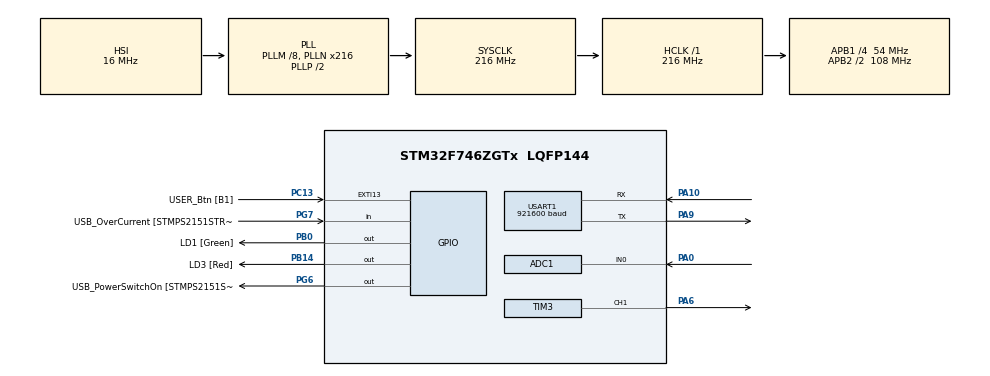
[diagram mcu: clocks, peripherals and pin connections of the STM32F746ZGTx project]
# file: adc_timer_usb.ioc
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ADC1.Channel-0\#ChannelRegularConversion=ADC_CHANNEL_0
ADC1.ContinuousConvMode=ENABLE
ADC1.DMAContinuousRequests=ENABLE
ADC1.NbrOfConversionFlag=1
ADC1.Rank-0\#ChannelRegularConversion=1
ADC1.Resolution=ADC_RESOLUTION_8B
ADC1.SamplingTime-0\#ChannelRegularConversion=ADC_SAMPLETIME_3CYCLES
ADC1.master=1
Dma.ADC1.0.Direction=DMA_PERIPH_TO_MEMORY
Dma.ADC1.0.FIFOMode=DMA_FIFOMODE_DISABLE
Dma.ADC1.0.Instance=DMA2_Stream0
Dma.ADC1.0.MemDataAlignment=DMA_MDATAALIGN_BYTE
Dma.ADC1.0.MemInc=DMA_MINC_ENABLE
Dma.ADC1.0.Mode=DMA_NORMAL
Dma.ADC1.0.PeriphDataAlignment=DMA_PDATAALIGN_BYTE
Dma.ADC1.0.PeriphInc=DMA_PINC_DISABLE
Dma.ADC1.0.Priority=DMA_PRIORITY_VERY_HIGH
Dma.Request0=ADC1
Mcu.Family=STM32F7
Mcu.Name=STM32F746ZGTx
Mcu.Package=LQFP144
NVIC.ADC_IRQn=true\:0\:0\:false\:false\:true\:true\:true
NVIC.DMA2_Stream0_IRQn=true\:0\:0\:false\:false\:true\:false\:true
NVIC.PriorityGroup=NVIC_PRIORITYGROUP_4
NVIC.TIM3_IRQn=true\:0\:0\:false\:false\:true\:true\:true
PA0/WKUP.Signal=ADCx_IN0
PA1.GPIO_Label=RMII_REF_CLK [LAN8742A-CZ-TR_REFCLK0]
PA1.Signal=ETH_REF_CLK
PA10.Mode=Asynchronous
PA10.Signal=USART1_RX
PA11.GPIO_Label=USB_DM
PA11.Signal=USB_OTG_FS_DM
PA12.GPIO_Label=USB_DP
PA12.Signal=USB_OTG_FS_DP
PA13.GPIO_Label=TMS
PA13.Signal=SYS_JTMS-SWDIO
PA14.GPIO_Label=TCK
PA14.Signal=SYS_JTCK-SWCLK
PA2.GPIO_Label=RMII_MDIO [LAN8742A-CZ-TR_MDIO]
PA2.Signal=ETH_MDIO
PA6.Signal=S_TIM3_CH1
PA7.GPIO_Label=RMII_CRS_DV [LAN8742A-CZ-TR_CRS_DV]
PA7.Signal=ETH_CRS_DV
PA8.GPIO_Label=USB_SOF [TP1]
PA8.Signal=USB_OTG_FS_SOF
PA9.Mode=Asynchronous
PA9.Signal=USART1_TX
PB0.GPIO_Label=LD1 [Green]
PB0.Signal=GPIO_Output
PB13.GPIO_Label=RMII_TXD1 [LAN8742A-CZ-TR_TXD1]
PB13.Signal=ETH_TXD1
PB14.GPIO_Label=LD3 [Red]
PB14.Signal=GPIO_Output
PB3.GPIO_Label=SW0
PB3.Signal=SYS_JTDO-SWO
PC1.GPIO_Label=RMII_MDC [LAN8742A-CZ-TR_MDC]
PC1.Signal=ETH_MDC
PC13.GPIO_Label=USER_Btn [B1]
PC13.Signal=GPXTI13
PC14/OSC32_IN.Signal=RCC_OSC32_IN
PC15/OSC32_OUT.Signal=RCC_OSC32_OUT
PC4.GPIO_Label=RMII_RXD0 [LAN8742A-CZ-TR_RXD0]
PC4.Signal=ETH_RXD0
PC5.GPIO_Label=RMII_RXD1 [LAN8742A-CZ-TR_RXD1]
PC5.Signal=ETH_RXD1
PD8.GPIO_Label=STLK_RX [STM32F103CBT6_PA3]
PD8.Signal=USART3_TX
PD9.GPIO_Label=STLK_TX [STM32F103CBT6_PA2]
PD9.Signal=USART3_RX
PG11.GPIO_Label=RMII_TX_EN [LAN8742A-CZ-TR_TXEN]
PG11.Signal=ETH_TX_EN
PG13.GPIO_Label=RMII_TXD0 [LAN8742A-CZ-TR_TXD0]
PG13.Signal=ETH_TXD0
PG6.GPIO_Label=USB_PowerSwitchOn [STMPS2151STR_EN]
PG6.Signal=GPIO_Output
PG7.GPIO_Label=USB_OverCurrent [STMPS2151STR_FAULT]
PG7.Signal=GPIO_Input
PH0/OSC_IN.GPIO_Label=MCO [STM32F103CBT6_PA8]
PH0/OSC_IN.Mode=HSE-External-Oscillator
PH0/OSC_IN.Signal=RCC_OSC_IN
PH1/OSC_OUT.Mode=HSE-External-Oscillator
PH1/OSC_OUT.Signal=RCC_OSC_OUT
ProjectManager.HeapSize=0x200
ProjectManager.StackSize=0x400
ProjectManager.TargetToolchain=MDK-ARM V5
RCC.48MHZClocksFreq_Value=24000000
RCC.AHBFreq_Value=216000000
RCC.APB1CLKDivider=RCC_HCLK_DIV4
RCC.APB1Freq_Value=54000000
RCC.APB1TimFreq_Value=108000000
RCC.APB2CLKDivider=RCC_HCLK_DIV2
RCC.APB2Freq_Value=108000000
RCC.APB2TimFreq_Value=216000000
RCC.CortexFreq_Value=216000000
RCC.HCLKFreq_Value=216000000
RCC.HSE_VALUE=8000000
RCC.HSI_VALUE=16000000
RCC.LSE_VALUE=32768
RCC.PLLM=8
RCC.PLLMUL=RCC_PLL_MUL9
RCC.PLLN=216
RCC.PRESCALERUSB=RCC_USBCLKSOURCE_PLL_DIV1_5
RCC.SYSCLKFreq_VALUE=216000000
RCC.SYSCLKSource=RCC_SYSCLKSOURCE_PLLCLK
RCC.SYSCLKSourceVirtual=RCC_SYSCLKSOURCE_PLLCLK
RCC.USBFreq_Value=216000000
RCC.VCOOutputFreq_Value=432000000
SH.ADCx_IN0.0=ADC1_IN0,IN0
SH.S_TIM3_CH1.0=TIM3_CH1,PWM Generation1 CH1
TIM3.AutoReloadPreload=TIM_AUTORELOAD_PRELOAD_ENABLE
TIM3.Channel-PWM\ Generation1\ CH1=TIM_CHANNEL_1
TIM3.OCFastMode_PWM-PWM\ Generation1\ CH1=TIM_OCFAST_ENABLE
TIM3.Period=21599
TIM3.Pulse-PWM\ Generation1\ CH1=5
USART1.BaudRate=921600
USART1.DMADisableonRxErrorParam=ADVFEATURE_DMA_DISABLEONRXERROR
USART1.OverSampling=UART_OVERSAMPLING_8
USART1.OverrunDisableParam=ADVFEATURE_OVERRUN_DISABLE
USART1.VirtualMode-Asynchronous=VM_ASYNC
VP_TIM3_VS_ClockSourceINT.Mode=Internal
board=NUCLEO-F746ZG

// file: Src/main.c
/* USER CODE BEGIN Header */
/**
  ******************************************************************************
  * @file           : main.c
  * @brief          : Main program body
  ******************************************************************************
  * @attention
  *
  * <h2><center>&copy; Copyright (c) 2019 STMicroelectronics.
  * All rights reserved.</center></h2>
  *
  * This software component is licensed by ST under BSD 3-Clause license,
  * the "License"; You may not use this file except in compliance with the
  * License. You may obtain a copy of the License at:
  *                        opensource.org/licenses/BSD-3-Clause
  *
  ******************************************************************************
  */
/* USER CODE END Header */

#include "main.h"

/* USER CODE BEGIN Includes */

//includes needed for printing
#include <stdio.h>
#include <stdarg.h>
#include <string.h>

/* USER CODE END Includes */

ADC_HandleTypeDef hadc1;
DMA_HandleTypeDef hdma_adc1;

TIM_HandleTypeDef htim3;

UART_HandleTypeDef huart1;

/* USER CODE BEGIN PV */

//memory buffer for DMA transfer
const int numVals = 500;
uint8_t vals[numVals];

//small buffer for marking the start of transfer
//will hold the encoder value and a bunch of 255
const int numStartBytes = 10;
uint8_t markStart[numStartBytes];

/* USER CODE END PV */

void SystemClock_Config(void);
static void MX_GPIO_Init(void);
static void MX_DMA_Init(void);
static void MX_ADC1_Init(void);
static void MX_USART1_UART_Init(void);
static void MX_TIM3_Init(void);
/* USER CODE BEGIN PFP */

//print functions definitions
void vprint(const char *fmt, va_list argp);
void my_printf(const char *fmt, ...);

/* USER CODE END PFP */

/* USER CODE BEGIN 0 */

//print functions
void vprint(const char *fmt, va_list argp)
{
    char string[200];
    if(0 < vsprintf(string,fmt,argp)) // build string
    {
        HAL_UART_Transmit(&huart1, (uint8_t*)string, strlen(string), 0xffffff); // send message via UART
    }
}

void my_printf(const char *fmt, ...) // custom printf() function
{
    va_list argp;
    va_start(argp, fmt);
    vprint(fmt, argp);
    va_end(argp);
}

/* USER CODE END 0 */

int main(void)
{
  /* USER CODE BEGIN 1 */

	//set the starting char array to all 255
	for (int i = 0; i < numStartBytes; i++) {
		markStart[i] = 255;
	}

  /* USER CODE END 1 */

  /* MCU Configuration--------------------------------------------------------*/

  /* Reset of all peripherals, Initializes the Flash interface and the Systick. */
  HAL_Init();

  /* Configure the system clock */
  SystemClock_Config();

  /* Initialize all configured peripherals */
  MX_GPIO_Init();
  MX_DMA_Init();
  MX_ADC1_Init();
  MX_USART1_UART_Init();
  MX_TIM3_Init();
  /* USER CODE BEGIN 2 */

	//delay: debugging
	HAL_Delay(1000);
	my_printf("starting DMA \r\n");

//start the timer: DMA started in timer callback
	HAL_TIM_PWM_Start_IT(&htim3, TIM_CHANNEL_1);

  /* USER CODE END 2 */

  /* Infinite loop */
  while (1)
  {

    /* USER CODE BEGIN 3 */
		//my_printf("in while \r\n");
		//HAL_Delay(1000);

  }
  /* USER CODE END 3 */
}

void SystemClock_Config(void)
{
  RCC_OscInitTypeDef RCC_OscInitStruct = {0};
  RCC_ClkInitTypeDef RCC_ClkInitStruct = {0};
  RCC_PeriphCLKInitTypeDef PeriphClkInitStruct = {0};

  /** Configure the main internal regulator output voltage
  */
  __HAL_RCC_PWR_CLK_ENABLE();
  __HAL_PWR_VOLTAGESCALING_CONFIG(PWR_REGULATOR_VOLTAGE_SCALE1);
  /** Initializes the CPU, AHB and APB busses clocks
  */
  RCC_OscInitStruct.OscillatorType = RCC_OSCILLATORTYPE_HSI;
  RCC_OscInitStruct.HSIState = RCC_HSI_ON;
  RCC_OscInitStruct.HSICalibrationValue = RCC_HSICALIBRATION_DEFAULT;
  RCC_OscInitStruct.PLL.PLLState = RCC_PLL_ON;
  RCC_OscInitStruct.PLL.PLLSource = RCC_PLLSOURCE_HSI;
  RCC_OscInitStruct.PLL.PLLM = 8;
  RCC_OscInitStruct.PLL.PLLN = 216;
  RCC_OscInitStruct.PLL.PLLP = RCC_PLLP_DIV2;
  RCC_OscInitStruct.PLL.PLLQ = 2;
  if (HAL_RCC_OscConfig(&RCC_OscInitStruct) != HAL_OK)
  {
    Error_Handler();
  }
  /** Activate the Over-Drive mode
  */
  if (HAL_PWREx_EnableOverDrive() != HAL_OK)
  {
    Error_Handler();
  }
  /** Initializes the CPU, AHB and APB busses clocks
  */
  RCC_ClkInitStruct.ClockType = RCC_CLOCKTYPE_HCLK|RCC_CLOCKTYPE_SYSCLK
                              |RCC_CLOCKTYPE_PCLK1|RCC_CLOCKTYPE_PCLK2;
  RCC_ClkInitStruct.SYSCLKSource = RCC_SYSCLKSOURCE_PLLCLK;
  RCC_ClkInitStruct.AHBCLKDivider = RCC_SYSCLK_DIV1;
  RCC_ClkInitStruct.APB1CLKDivider = RCC_HCLK_DIV4;
  RCC_ClkInitStruct.APB2CLKDivider = RCC_HCLK_DIV2;

  if (HAL_RCC_ClockConfig(&RCC_ClkInitStruct, FLASH_LATENCY_7) != HAL_OK)
  {
    Error_Handler();
  }
  PeriphClkInitStruct.PeriphClockSelection = RCC_PERIPHCLK_USART1;
  PeriphClkInitStruct.Usart1ClockSelection = RCC_USART1CLKSOURCE_PCLK2;
  if (HAL_RCCEx_PeriphCLKConfig(&PeriphClkInitStruct) != HAL_OK)
  {
    Error_Handler();
  }
}

static void MX_ADC1_Init(void)
{

  ADC_ChannelConfTypeDef sConfig = {0};

  /** Configure the global features of the ADC (Clock, Resolution, Data Alignment and number of conversion)
  */
  hadc1.Instance = ADC1;
  hadc1.Init.ClockPrescaler = ADC_CLOCK_SYNC_PCLK_DIV4;
  hadc1.Init.Resolution = ADC_RESOLUTION_8B;
  hadc1.Init.ScanConvMode = DISABLE;
  hadc1.Init.ContinuousConvMode = ENABLE;
  hadc1.Init.DiscontinuousConvMode = DISABLE;
  hadc1.Init.ExternalTrigConvEdge = ADC_EXTERNALTRIGCONVEDGE_NONE;
  hadc1.Init.ExternalTrigConv = ADC_SOFTWARE_START;
  hadc1.Init.DataAlign = ADC_DATAALIGN_RIGHT;
  hadc1.Init.NbrOfConversion = 1;
  hadc1.Init.DMAContinuousRequests = ENABLE;
  hadc1.Init.EOCSelection = ADC_EOC_SINGLE_CONV;
  if (HAL_ADC_Init(&hadc1) != HAL_OK)
  {
    Error_Handler();
  }
  /** Configure for the selected ADC regular channel its corresponding rank in the sequencer and its sample time.
  */
  sConfig.Channel = ADC_CHANNEL_0;
  sConfig.Rank = ADC_REGULAR_RANK_1;
  sConfig.SamplingTime = ADC_SAMPLETIME_3CYCLES;
  if (HAL_ADC_ConfigChannel(&hadc1, &sConfig) != HAL_OK)
  {
    Error_Handler();
  }

}

static void MX_TIM3_Init(void)
{

  TIM_ClockConfigTypeDef sClockSourceConfig = {0};
  TIM_MasterConfigTypeDef sMasterConfig = {0};
  TIM_OC_InitTypeDef sConfigOC = {0};

  htim3.Instance = TIM3;
  htim3.Init.Prescaler = 0;
  htim3.Init.CounterMode = TIM_COUNTERMODE_UP;
  htim3.Init.Period = 21599;
  htim3.Init.ClockDivision = TIM_CLOCKDIVISION_DIV1;
  htim3.Init.AutoReloadPreload = TIM_AUTORELOAD_PRELOAD_ENABLE;
  if (HAL_TIM_Base_Init(&htim3) != HAL_OK)
  {
    Error_Handler();
  }
  sClockSourceConfig.ClockSource = TIM_CLOCKSOURCE_INTERNAL;
  if (HAL_TIM_ConfigClockSource(&htim3, &sClockSourceConfig) != HAL_OK)
  {
    Error_Handler();
  }
  if (HAL_TIM_PWM_Init(&htim3) != HAL_OK)
  {
    Error_Handler();
  }
  sMasterConfig.MasterOutputTrigger = TIM_TRGO_RESET;
  sMasterConfig.MasterSlaveMode = TIM_MASTERSLAVEMODE_DISABLE;
  if (HAL_TIMEx_MasterConfigSynchronization(&htim3, &sMasterConfig) != HAL_OK)
  {
    Error_Handler();
  }
  sConfigOC.OCMode = TIM_OCMODE_PWM1;
  sConfigOC.Pulse = 5;
  sConfigOC.OCPolarity = TIM_OCPOLARITY_HIGH;
  sConfigOC.OCFastMode = TIM_OCFAST_ENABLE;
  if (HAL_TIM_PWM_ConfigChannel(&htim3, &sConfigOC, TIM_CHANNEL_1) != HAL_OK)
  {
    Error_Handler();
  }
  HAL_TIM_MspPostInit(&htim3);

}

static void MX_USART1_UART_Init(void)
{

  huart1.Instance = USART1;
  huart1.Init.BaudRate = 921600;
  huart1.Init.WordLength = UART_WORDLENGTH_8B;
  huart1.Init.StopBits = UART_STOPBITS_1;
  huart1.Init.Parity = UART_PARITY_NONE;
  huart1.Init.Mode = UART_MODE_TX_RX;
  huart1.Init.HwFlowCtl = UART_HWCONTROL_NONE;
  huart1.Init.OverSampling = UART_OVERSAMPLING_8;
  huart1.Init.OneBitSampling = UART_ONE_BIT_SAMPLE_DISABLE;
  huart1.AdvancedInit.AdvFeatureInit = UART_ADVFEATURE_RXOVERRUNDISABLE_INIT|UART_ADVFEATURE_DMADISABLEONERROR_INIT;
  huart1.AdvancedInit.OverrunDisable = UART_ADVFEATURE_OVERRUN_DISABLE;
  huart1.AdvancedInit.DMADisableonRxError = UART_ADVFEATURE_DMA_DISABLEONRXERROR;
  if (HAL_UART_Init(&huart1) != HAL_OK)
  {
    Error_Handler();
  }

}

static void MX_DMA_Init(void)
{
  /* DMA controller clock enable */
  __HAL_RCC_DMA2_CLK_ENABLE();

  /* DMA interrupt init */
  /* DMA2_Stream0_IRQn interrupt configuration */
  HAL_NVIC_SetPriority(DMA2_Stream0_IRQn, 0, 0);
  HAL_NVIC_EnableIRQ(DMA2_Stream0_IRQn);

}

static void MX_GPIO_Init(void)
{
  GPIO_InitTypeDef GPIO_InitStruct = {0};

  /* GPIO Ports Clock Enable */
  __HAL_RCC_GPIOC_CLK_ENABLE();
  __HAL_RCC_GPIOH_CLK_ENABLE();
  __HAL_RCC_GPIOA_CLK_ENABLE();
  __HAL_RCC_GPIOB_CLK_ENABLE();
  __HAL_RCC_GPIOD_CLK_ENABLE();
  __HAL_RCC_GPIOG_CLK_ENABLE();

  /*Configure GPIO pin Output Level */
  HAL_GPIO_WritePin(GPIOB, LD1_Pin|LD3_Pin, GPIO_PIN_RESET);

  /*Configure GPIO pin Output Level */
  HAL_GPIO_WritePin(USB_PowerSwitchOn_GPIO_Port, USB_PowerSwitchOn_Pin, GPIO_PIN_RESET);

  /*Configure GPIO pin : USER_Btn_Pin */
  GPIO_InitStruct.Pin = USER_Btn_Pin;
  GPIO_InitStruct.Mode = GPIO_MODE_IT_RISING;
  GPIO_InitStruct.Pull = GPIO_NOPULL;
  HAL_GPIO_Init(USER_Btn_GPIO_Port, &GPIO_InitStruct);

  /*Configure GPIO pins : RMII_MDC_Pin RMII_RXD0_Pin RMII_RXD1_Pin */
  GPIO_InitStruct.Pin = RMII_MDC_Pin|RMII_RXD0_Pin|RMII_RXD1_Pin;
  GPIO_InitStruct.Mode = GPIO_MODE_AF_PP;
  GPIO_InitStruct.Pull = GPIO_NOPULL;
  GPIO_InitStruct.Speed = GPIO_SPEED_FREQ_VERY_HIGH;
  GPIO_InitStruct.Alternate = GPIO_AF11_ETH;
  HAL_GPIO_Init(GPIOC, &GPIO_InitStruct);

  /*Configure GPIO pins : RMII_REF_CLK_Pin RMII_MDIO_Pin RMII_CRS_DV_Pin */
  GPIO_InitStruct.Pin = RMII_REF_CLK_Pin|RMII_MDIO_Pin|RMII_CRS_DV_Pin;
  GPIO_InitStruct.Mode = GPIO_MODE_AF_PP;
  GPIO_InitStruct.Pull = GPIO_NOPULL;
  GPIO_InitStruct.Speed = GPIO_SPEED_FREQ_VERY_HIGH;
  GPIO_InitStruct.Alternate = GPIO_AF11_ETH;
  HAL_GPIO_Init(GPIOA, &GPIO_InitStruct);

  /*Configure GPIO pins : LD1_Pin LD3_Pin */
  GPIO_InitStruct.Pin = LD1_Pin|LD3_Pin;
  GPIO_InitStruct.Mode = GPIO_MODE_OUTPUT_PP;
  GPIO_InitStruct.Pull = GPIO_NOPULL;
  GPIO_InitStruct.Speed = GPIO_SPEED_FREQ_LOW;
  HAL_GPIO_Init(GPIOB, &GPIO_InitStruct);

  /*Configure GPIO pin : RMII_TXD1_Pin */
  GPIO_InitStruct.Pin = RMII_TXD1_Pin;
  GPIO_InitStruct.Mode = GPIO_MODE_AF_PP;
  GPIO_InitStruct.Pull = GPIO_NOPULL;
  GPIO_InitStruct.Speed = GPIO_SPEED_FREQ_VERY_HIGH;
  GPIO_InitStruct.Alternate = GPIO_AF11_ETH;
  HAL_GPIO_Init(RMII_TXD1_GPIO_Port, &GPIO_InitStruct);

  /*Configure GPIO pins : STLK_RX_Pin STLK_TX_Pin */
  GPIO_InitStruct.Pin = STLK_RX_Pin|STLK_TX_Pin;
  GPIO_InitStruct.Mode = GPIO_MODE_AF_PP;
  GPIO_InitStruct.Pull = GPIO_NOPULL;
  GPIO_InitStruct.Speed = GPIO_SPEED_FREQ_VERY_HIGH;
  GPIO_InitStruct.Alternate = GPIO_AF7_USART3;
  HAL_GPIO_Init(GPIOD, &GPIO_InitStruct);

  /*Configure GPIO pin : USB_PowerSwitchOn_Pin */
  GPIO_InitStruct.Pin = USB_PowerSwitchOn_Pin;
  GPIO_InitStruct.Mode = GPIO_MODE_OUTPUT_PP;
  GPIO_InitStruct.Pull = GPIO_NOPULL;
  GPIO_InitStruct.Speed = GPIO_SPEED_FREQ_LOW;
  HAL_GPIO_Init(USB_PowerSwitchOn_GPIO_Port, &GPIO_InitStruct);

  /*Configure GPIO pin : USB_OverCurrent_Pin */
  GPIO_InitStruct.Pin = USB_OverCurrent_Pin;
  GPIO_InitStruct.Mode = GPIO_MODE_INPUT;
  GPIO_InitStruct.Pull = GPIO_NOPULL;
  HAL_GPIO_Init(USB_OverCurrent_GPIO_Port, &GPIO_InitStruct);

  /*Configure GPIO pins : USB_SOF_Pin USB_DM_Pin USB_DP_Pin */
  GPIO_InitStruct.Pin = USB_SOF_Pin|USB_DM_Pin|USB_DP_Pin;
  GPIO_InitStruct.Mode = GPIO_MODE_AF_PP;
  GPIO_InitStruct.Pull = GPIO_NOPULL;
  GPIO_InitStruct.Speed = GPIO_SPEED_FREQ_VERY_HIGH;
  GPIO_InitStruct.Alternate = GPIO_AF10_OTG_FS;
  HAL_GPIO_Init(GPIOA, &GPIO_InitStruct);

  /*Configure GPIO pins : RMII_TX_EN_Pin RMII_TXD0_Pin */
  GPIO_InitStruct.Pin = RMII_TX_EN_Pin|RMII_TXD0_Pin;
  GPIO_InitStruct.Mode = GPIO_MODE_AF_PP;
  GPIO_InitStruct.Pull = GPIO_NOPULL;
  GPIO_InitStruct.Speed = GPIO_SPEED_FREQ_VERY_HIGH;
  GPIO_InitStruct.Alternate = GPIO_AF11_ETH;
  HAL_GPIO_Init(GPIOG, &GPIO_InitStruct);

}

/* USER CODE BEGIN 4 */

//adc convert complete (dma finished filling in array)
void HAL_ADC_ConvCpltCallback(ADC_HandleTypeDef* hadc) {
	//send out all data through USB in form "data,data,.."
	for (int i = 0; i < numVals; i++){
		my_printf("%u,", vals[i]);
	}
	//*/

	//optimization testing: just send all 500 values as bytes
	//HAL_UART_Transmit(&huart1, (uint8_t*)vals, numVals, 0xffffff);

	//re-enable timer interrupt
	HAL_NVIC_EnableIRQ(TIM3_IRQn);
}

//timer low to high transition
void HAL_TIM_PeriodElapsedCallback(TIM_HandleTypeDef *htim) {
	//disable timer interrupt
	HAL_NVIC_DisableIRQ(TIM3_IRQn);

	//start the ADC_DMA
	HAL_ADC_Start_DMA(&hadc1, (uint32_t *)vals, numVals);

	//send out |, through USB
	//------------------------- 0 is used as an angle placeholder for now -------------//
	//my_printf("|,0,");

	//optimization testing: send out 10 bytes of 255
	//HAL_UART_Transmit(&huart1, (uint8_t*)markStart, numStartBytes, 0xffffff);
}

/* USER CODE END 4 */

void Error_Handler(void)
{
}

/************************ (C) COPYRIGHT STMicroelectronics *****END OF FILE****/
